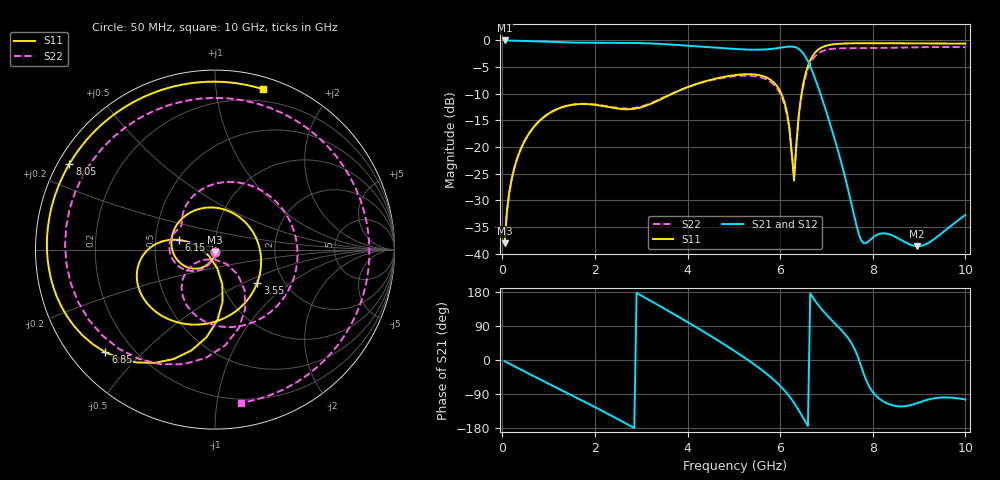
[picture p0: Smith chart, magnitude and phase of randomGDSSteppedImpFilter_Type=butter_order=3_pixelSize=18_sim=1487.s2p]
! freq	dB(S11)	phase(S11)	dB(S12)	phase(S12)
!  dB(S21)	phase(S21)	dB(S22)	phase(S22)
!S-par simulation data
#  GHz  S  DB  R 50
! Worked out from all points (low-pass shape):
!   200 points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, 50 MHz to 10 GHz, reference 50 ohm
!   highest |S21| = 0.00 dB at 50 MHz (marker M1); lowest = -38.6 dB at 8.95 GHz (marker M2)
!   |S21| within 3 dB of the highest: start of sweep to 6.543 GHz
!   lowest |S11| = -38.0 dB at 50 MHz (marker M3), VSWR 1.03, Z = 49.9 - j1.25 ohm
!   |S11| at or under -10 dB: start of sweep to 3.667 GHz; 6.024 GHz to 6.462 GHz (437.7 MHz wide, 7.01 % of centre)
!   |S22| runs from -38.0 to -1.2 dB; largest |S21 - S12| = 0
!   S11 on the Smith chart (normalised r, x): 50 MHz: 1.00, -0.02; 3.55 GHz: 1.48, -0.59; 6.15 GHz: 0.66, +0.08; 6.85 GHz: 0.10, -0.39; 8.05 GHz: 0.03, +0.27; 10 GHz: 0.10, +1.34
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0.05  -38.04 -92.9  -0.00 -3.2  -0.00 -3.2  -38.01 -92.3
0.2  -26.14 -103.5  -0.03 -12.7  -0.03 -12.7  -26.14 -101.9
0.5  -18.58 -124.1  -0.10 -31.6  -0.10 -31.6  -18.57 -120.0
1.15  -13.01 -168.4  -0.31 -71.8  -0.31 -71.8  -13.00 -156.3
1.75  -11.92 147.4  -0.42 -108.6  -0.42 -108.6  -11.88 174.3
2.65  -12.90 60.0  -0.44 -166.2  -0.44 -166.2  -12.76 146.5
3.4  -11.12 -24.1  -0.65 142.5  -0.65 142.5  -11.02 127.7
3.55  -10.48 -37.9  -0.72 132.0  -0.72 132.0  -10.42 120.5
4.3  -7.87 -91.1  -1.17 78.3  -1.17 78.3  -7.94 67.0
5.05  -6.48 -130.1  -1.62 20.9  -1.62 20.9  -6.69 -8.1
5.65  -6.76 -161.7  -1.70 -30.8  -1.70 -30.8  -7.11 -78.5
6.15  -13.64 164.7  -1.18 -88.5  -1.18 -88.5  -14.09 -143.3
6.3  -26.26 -132.3  -1.20 -113.2  -1.20 -113.2  -25.21 -92.2
6.45  -10.61 -81.8  -1.93 -142.8  -1.93 -142.8  -11.11 -53.7
6.7  -2.92 -117.9  -5.89 166.2  -5.89 166.2  -3.59 -105.3
6.85  -1.55 -136.8  -9.49 140.9  -9.49 140.9  -2.28 -134.1
7.3  -0.62 -173.5  -22.25 81.7  -22.25 81.7  -1.49 157.9
7.75  -0.53 162.8  -37.48 -16.6  -37.48 -16.6  -1.46 102.0
8.05  -0.53 149.6  -36.66 -91.8  -36.66 -91.8  -1.44 68.4
8.35  -0.53 137.2  -36.33 -116.4  -36.33 -116.4  -1.39 37.7
8.95  -0.55 113.7  -38.58 -114.3  -38.58 -114.3  -1.28 -14.1
10  -0.61 73.3  -32.73 -104.1  -32.73 -104.1  -1.26 -80.4
